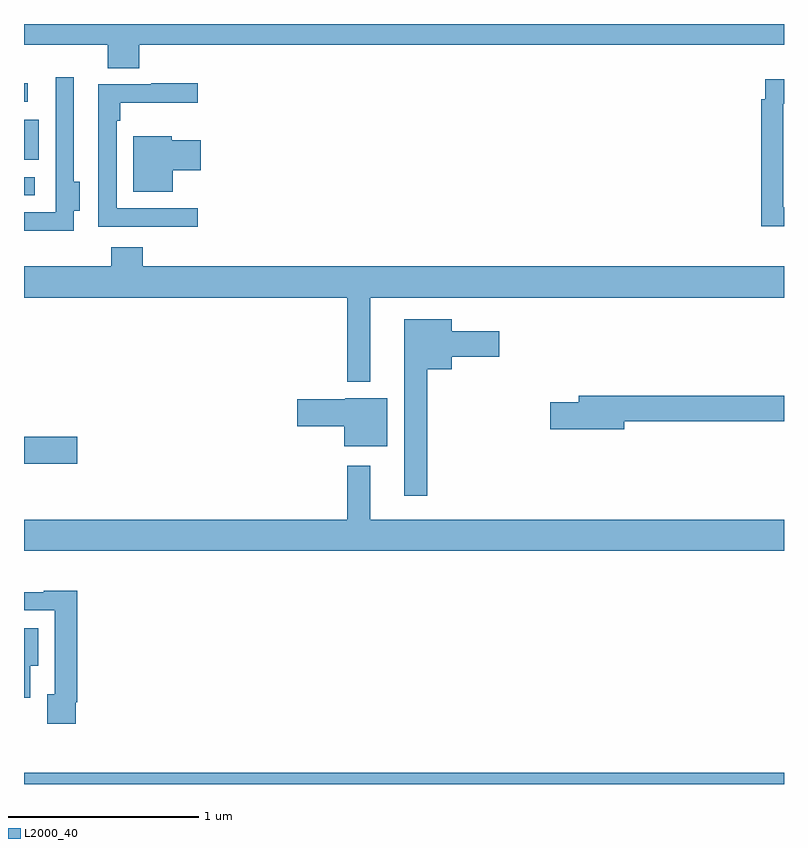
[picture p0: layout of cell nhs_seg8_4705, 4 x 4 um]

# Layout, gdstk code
import gdstk
lib = gdstk.Library(unit=1e-6, precision=1e-09)
def R(c, l, rs):  # rectangles x0, y0, x1, y1
    for r in rs: c.add(gdstk.rectangle(r[:2], r[2:], *l))
def P(c, l, *ps):  # polygons
    for p in ps: c.add(gdstk.Polygon(p, *l))
L2000_40 = (2000, 40)

nhs_seg8_4705 = lib.new_cell('nhs_seg8_4705')
R(nhs_seg8_4705, L2000_40, [(395,1153.9,399,1153.96), (395,1155.586,395.281,1155.728), (395,1156.998,395.056,1157.094), (395,1157.186,395.077,1157.397), (395,1157.49,395.02,1157.588)])
P(nhs_seg8_4705, L2000_40, [(395.606,1157.792),(399,1157.792),(399,1157.9),(395,1157.9),(395,1157.792),(395.441,1157.792),(395.441,1157.668),(395.606,1157.668)],
  [(395.262,1156.916),(395.293,1156.916),(395.293,1157.069),(395.262,1157.069),(395.262,1157.62),(395.166,1157.62),(395.166,1156.908),(395,1156.908),(395,1156.811),(395.262,1156.811)],
  [(399,1156.936),(398.997,1156.936),(398.997,1157.48),(399,1157.48),(399,1157.608),(398.901,1157.608),(398.901,1157.504),(398.881,1157.504),(398.881,1156.835),(399,1156.835)],
  [(395.914,1156.929),(395.487,1156.929),(395.487,1157.39),(395.507,1157.39),(395.507,1157.486),(395.914,1157.486),(395.914,1157.587),(395.669,1157.587),(395.669,1157.583),(395.391,1157.583),(395.391,1156.833),(395.914,1156.833)],
  [(395.782,1157.129),(395.929,1157.129),(395.929,1157.287),(395.778,1157.287),(395.778,1157.308),(395.576,1157.308),(395.576,1157.018),(395.782,1157.018)],
  [(396.823,1156.46),(399,1156.46),(399,1156.624),(395.624,1156.624),(395.624,1156.726),(395.459,1156.726),(395.459,1156.624),(395,1156.624),(395,1156.46),(396.702,1156.46),(396.702,1156.016),(396.823,1156.016)],
  [(397.123,1156.082),(397.252,1156.082),(397.252,1156.148),(397.501,1156.148),(397.501,1156.282),(397.252,1156.282),(397.252,1156.345),(397.001,1156.345),(397.001,1155.417),(397.123,1155.417)],
  [(398.158,1155.808),(399,1155.808),(399,1155.944),(397.919,1155.944),(397.919,1155.908),(397.77,1155.908),(397.77,1155.766),(398.158,1155.766)],
  [(396.913,1155.931),(396.69,1155.931),(396.69,1155.926),(396.438,1155.926),(396.438,1155.784),(396.686,1155.784),(396.686,1155.677),(396.913,1155.677)],
  [(399,1155.292),(396.823,1155.292),(396.823,1155.574),(396.702,1155.574),(396.702,1155.292),(395,1155.292),(395,1155.128),(399,1155.128)],
  [(395.272,1154.329),(395.279,1154.329),(395.279,1154.917),(395.103,1154.917),(395.103,1154.91),(395,1154.91),(395,1154.814),(395.163,1154.814),(395.163,1154.373),(395.123,1154.373),(395.123,1154.217),(395.272,1154.217)],
  [(395.032,1154.522),(395.074,1154.522),(395.074,1154.719),(395,1154.719),(395,1154.353),(395.032,1154.353)])

lib.write_gds('nhs_seg8_4705.gds')
